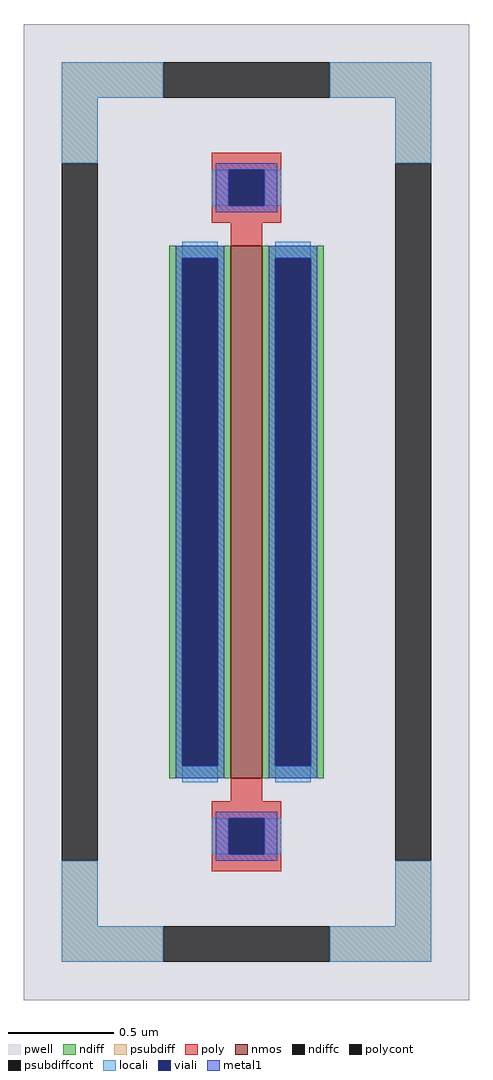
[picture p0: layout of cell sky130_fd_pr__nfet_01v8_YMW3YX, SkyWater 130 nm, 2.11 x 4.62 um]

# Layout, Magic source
magic
tech sky130A
magscale 1 2
<< pwell >>
rect -211 -462 211 462
<< nmos >>
rect -15 -252 15 252
<< ndiff >>
rect -73 240 -15 252
rect -73 -240 -61 240
rect -27 -240 -15 240
rect -73 -252 -15 -240
rect 15 240 73 252
rect 15 -240 27 240
rect 61 -240 73 240
rect 15 -252 73 -240
<< ndiffc >>
rect -61 -240 -27 240
rect 27 -240 61 240
<< psubdiff >>
rect -175 392 -79 426
rect 79 392 175 426
rect -175 330 -141 392
rect 141 330 175 392
rect -175 -392 -141 -330
rect 141 -392 175 -330
rect -175 -426 -79 -392
rect 79 -426 175 -392
<< psubdiffcont >>
rect -79 392 79 426
rect -175 -330 -141 330
rect 141 -330 175 330
rect -79 -426 79 -392
<< poly >>
rect -33 324 33 340
rect -33 290 -17 324
rect 17 290 33 324
rect -33 274 33 290
rect -15 252 15 274
rect -15 -274 15 -252
rect -33 -290 33 -274
rect -33 -324 -17 -290
rect 17 -324 33 -290
rect -33 -340 33 -324
<< polycont >>
rect -17 290 17 324
rect -17 -324 17 -290
<< locali >>
rect -175 392 -79 426
rect 79 392 175 426
rect -175 330 -141 392
rect 141 330 175 392
rect -33 290 -17 324
rect 17 290 33 324
rect -61 240 -27 256
rect -61 -256 -27 -240
rect 27 240 61 256
rect 27 -256 61 -240
rect -33 -324 -17 -290
rect 17 -324 33 -290
rect -175 -392 -141 -330
rect 141 -392 175 -330
rect -175 -426 -79 -392
rect 79 -426 175 -392
<< viali >>
rect -17 290 17 324
rect -61 -240 -27 240
rect 27 -240 61 240
rect -17 -324 17 -290
<< metal1 >>
rect -29 324 29 330
rect -29 290 -17 324
rect 17 290 29 324
rect -29 284 29 290
rect -67 240 -21 252
rect -67 -240 -61 240
rect -27 -240 -21 240
rect -67 -252 -21 -240
rect 21 240 67 252
rect 21 -240 27 240
rect 61 -240 67 240
rect 21 -252 67 -240
rect -29 -290 29 -284
rect -29 -324 -17 -290
rect 17 -324 29 -290
rect -29 -330 29 -324
<< properties >>
string FIXED_BBOX -158 -409 158 409
string gencell sky130_fd_pr__nfet_01v8
string library sky130
string parameters w 2.52 l 0.15 m 1 nf 1 diffcov 100 polycov 100 guard 1 glc 1 grc 1 gtc 1 gbc 1 tbcov 100 rlcov 100 topc 1 botc 1 poverlap 0 doverlap 1 lmin 0.15 wmin 0.42 compatible {sky130_fd_pr__nfet_01v8 sky130_fd_pr__nfet_01v8_lvt  sky130_fd_bs_flash__special_sonosfet_star  sky130_fd_pr__nfet_g5v0d10v5 sky130_fd_pr__nfet_05v0_nvt  sky130_fd_pr__nfet_03v3_nvt} full_metal 1 viasrc 100 viadrn 100 viagate 100 viagb 0 viagr 0 viagl 0 viagt 0
<< end >>
